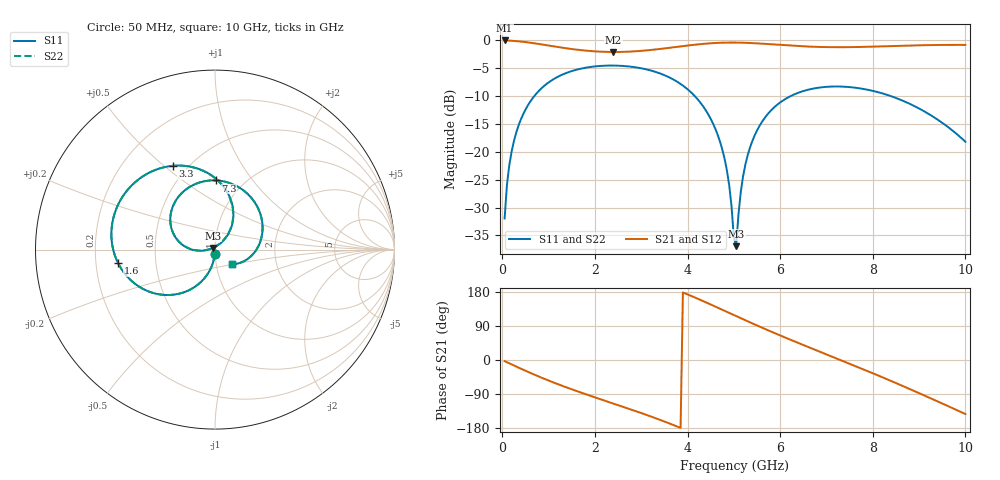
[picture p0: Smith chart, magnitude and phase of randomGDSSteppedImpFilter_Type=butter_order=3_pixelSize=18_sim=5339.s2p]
! freq	dB(S11)	phase(S11)	dB(S12)	phase(S12)
!  dB(S21)	phase(S21)	dB(S22)	phase(S22)
!S-par simulation data
#  GHz  S  DB  R 50
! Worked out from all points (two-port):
!   200 points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, 50 MHz to 10 GHz, reference 50 ohm
!   highest |S21| = 0.00 dB at 50 MHz (marker M1); lowest = -2.1 dB at 2.4 GHz (marker M2)
!   |S21| within 3 dB of the highest: start of sweep to end of sweep
!   lowest |S11| = -36.9 dB at 5.05 GHz (marker M3), VSWR 1.03, Z = 48.9 + j0.852 ohm
!   |S11| at or under -10 dB: start of sweep to 690.4 MHz; 4.157 GHz to 6.224 GHz (2.067 GHz wide, 39.8 % of centre); 8.393 GHz to end of sweep
!   |S22| runs from -36.1 to -4.5 dB; largest |S21 - S12| = 0
!   S11 on the Smith chart (normalised r, x): 50 MHz: 1.00, -0.05; 1.6 GHz: 0.30, -0.06; 3.3 GHz: 0.42, +0.53; 7.3 GHz: 0.75, +0.68; 10 GHz: 1.19, -0.20
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0.05  -31.97 -92.9  -0.00 -2.9  -0.00 -2.9  -31.96 -92.9
0.1  -25.96 -95.9  -0.02 -5.8  -0.02 -5.8  -25.96 -95.9
0.2  -20.00 -101.8  -0.06 -11.6  -0.06 -11.6  -20.00 -101.8
0.45  -13.26 -116.1  -0.25 -25.6  -0.25 -25.6  -13.26 -116.1
1  -7.54 -144.8  -0.92 -54.2  -0.92 -54.2  -7.54 -144.7
1.6  -5.26 -172.2  -1.65 -81.7  -1.65 -81.7  -5.26 -172.2
1.75  -4.98 -178.6  -1.79 -88.1  -1.79 -88.1  -4.98 -178.6
2.4  -4.51 154.6  -2.07 -114.9  -2.07 -114.9  -4.51 154.7
3.3  -5.63 116.8  -1.63 -153.1  -1.63 -153.1  -5.63 117.0
3.4  -5.91 112.4  -1.54 -157.6  -1.54 -157.6  -5.91 112.5
4  -8.76 84.0  -0.92 173.2  -0.92 173.2  -8.76 84.3
4.55  -14.92 56.9  -0.48 143.8  -0.48 143.8  -14.91 57.5
4.85  -23.32 47.0  -0.39 127.1  -0.39 127.1  -23.28 48.5
5.05  -36.93 142.2  -0.38 115.9  -0.38 115.9  -36.05 139.6
5.2  -24.36 -174.9  -0.41 107.6  -0.41 107.6  -24.30 -176.4
5.5  -16.17 176.2  -0.53 91.2  -0.53 91.2  -16.16 175.7
6  -11.13 152.2  -0.81 64.8  -0.81 64.8  -11.13 152.0
6.7  -8.67 118.3  -1.13 29.7  -1.13 29.7  -8.67 118.2
7.3  -8.28 89.4  -1.22 0.2  -1.22 0.2  -8.27 89.4
8.35  -9.88 37.8  -1.02 -52.9  -1.02 -52.9  -9.88 38.0
9.2  -13.16 -4.3  -0.84 -98.3  -0.84 -98.3  -13.15 -4.1
10  -18.19 -41.2  -0.81 -142.6  -0.81 -142.6  -18.20 -41.4
